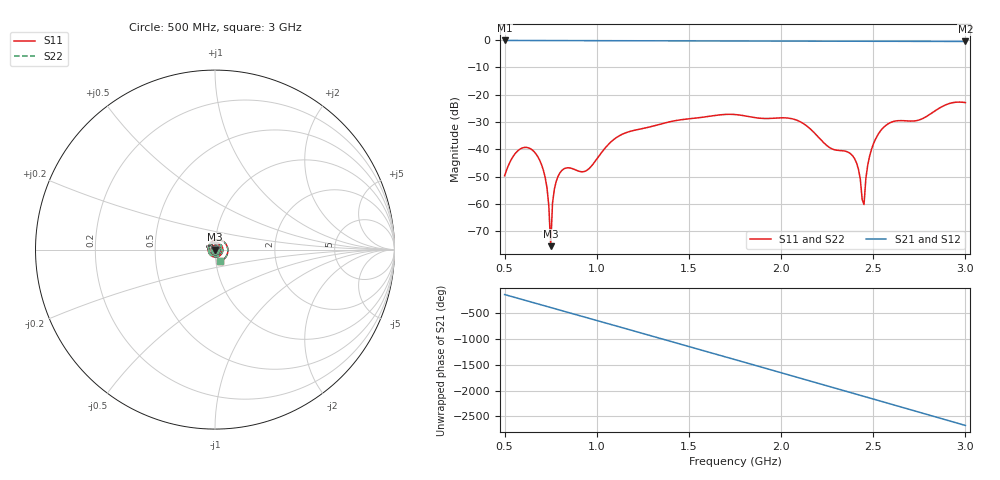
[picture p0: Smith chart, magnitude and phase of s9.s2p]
!freq-unit  param-type  data-format  keyword  impedance-ohms
# GHZ  S  RI  R  50
!Freq  ReS11  ImS11  ReS21  ImS21  ReS12  ImS12  ReS22  ImS22
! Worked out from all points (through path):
!   251 points, 500 MHz to 3 GHz, reference 50 ohm
!   highest |S21| = -0.15 dB at 500 MHz (marker M1); lowest = -0.5 dB at 3 GHz (marker M2)
!   group delay of S21, straight-line fit = 2.82 ns
!   lowest |S11| = -75.5 dB at 750 MHz (marker M3), VSWR 1.00, Z = 50 - j0.00249 ohm
!   |S11| at or under -10 dB: start of sweep to end of sweep
!   |S22| runs from -75.5 to -22.7 dB; largest |S21 - S12| = 0
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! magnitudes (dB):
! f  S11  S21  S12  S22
! 500 MHz  -49.7  -0.2  -0.2  -49.7
! 590 MHz  -39.7  -0.2  -0.2  -39.7
! 680 MHz  -42.7  -0.2  -0.2  -42.7
! 730 MHz  -54.1  -0.2  -0.2  -54.1
! 740 MHz  -60.9  -0.2  -0.2  -60.9
! 750 MHz  -75.5  -0.2  -0.2  -75.5
! 760 MHz  -59.7  -0.2  -0.2  -59.7
! 790 MHz  -49.9  -0.2  -0.2  -49.9
! 840 MHz  -46.8  -0.2  -0.2  -46.8
! 920 MHz  -48.3  -0.2  -0.2  -48.3
! 1.12 GHz  -35.1  -0.3  -0.3  -35.1
! 1.34 GHz  -30.9  -0.3  -0.3  -30.9
! 1.75 GHz  -27.3  -0.4  -0.4  -27.3
! 2.06 GHz  -28.8  -0.4  -0.4  -28.8
! 2.17 GHz  -33.3  -0.4  -0.4  -33.3
! 2.39 GHz  -42.5  -0.4  -0.4  -42.5
! 2.42 GHz  -47.4  -0.4  -0.4  -47.4
! 2.45 GHz  -60.2  -0.4  -0.4  -60.2
! 2.46 GHz  -50.7  -0.4  -0.4  -50.7
! 2.49 GHz  -40.2  -0.4  -0.4  -40.2
! 2.59 GHz  -30.3  -0.5  -0.5  -30.3
! 3 GHz  -22.9  -0.5  -0.5  -22.9
